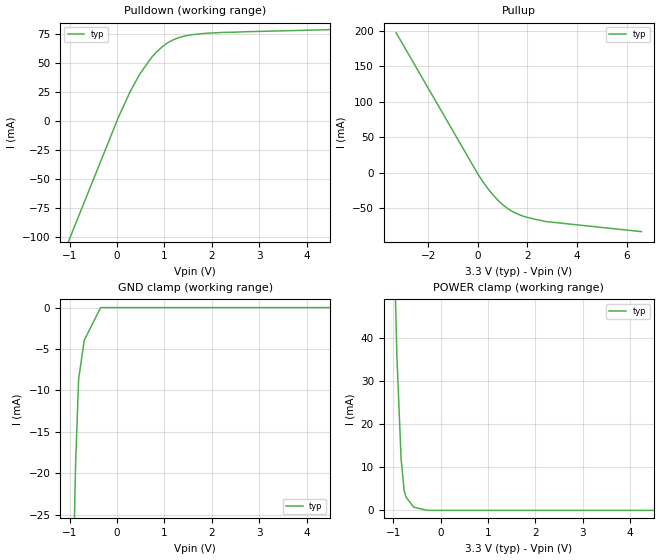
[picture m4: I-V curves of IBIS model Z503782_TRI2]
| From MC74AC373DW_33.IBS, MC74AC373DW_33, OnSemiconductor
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| (C) COPYRIGHT 1993-2000
| MENTOR GRAPHICS CORPORATION
| ICX STANDARD LIBRARY, ICX PROJECT MODELING,
| ICX CUSTOM MODELING, ICX VENDOR MODEL
| ALL RIGHTS RESERVED.
| THE FOLLOWING ARE TRADEMARKS OR SERVICE MARKS OF
| MENTOR GRAPHICS CORPORATION:ICX (R), ICX STANDARD
| LIBRARY(R), ICX PROJECT MODELING(R), ICX CUSTOM
| MODELING(R), qualityIBIS(TM), MODELVIEWER(TM),
| AND MODELEDITOR(TM)
| ALL COPIES OF SOFTWARE, INCLUDING BUT NOT LIMITED TO
| ANY MODIFICATIONS, ENHANCEMENTS OR DERIVATIVE WORKS,
| MUST CONTAIN ALL MENTOR GRAPHICS CORPORATION'S
| NOTICES AND LEGENDS, INCLUDING THOSE EMBEDDED IN
| SOFTWARE AND THOSE AFFIXED TO SOFTWARE MEDIUM
| AND CONTAINER, AS RECEIVED FROM MENTOR GRAPHICS
| CORPORATION.
| Model Application Version 1.89 2/18/99.
[Model] Z503782_TRI2
Model_type 3-state
Vref=0.000V
Rref=500.0ohms
Cref=50.00pF
Vmeas=1.650V
C_comp 8.000pF NA NA
| variable typ   min   max
[Voltage Range] 3.300V NA NA
[POWER Clamp Reference] 3.300V NA NA
[Pullup Reference] 3.300V NA NA
[Pulldown Reference] 0.000V NA NA
[GND Clamp Reference] 0.000V NA NA
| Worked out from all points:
|   slope of the pulldown table from 0 to 0.495 V, typ, clamps not added: 12 ohm
|   slope of the pullup table from 0 to 0.495 V, typ, clamps not added: 20.2 ohm
|   POWER clamp passes 1 mA (typ) near -0.58 V on its own axis
[GND Clamp]
-3.3V     -553.6mA   NA         NA
-1.113V   -83.74mA   NA         NA
-873.6mV  -18.84mA   NA         NA
-810mV    -8.648mA   NA         NA
-691.4mV  -3.945mA   NA         NA
-345.7mV  0A         NA         NA
6.6V      0A         NA         NA
[Pulldown]
-3.3V     -336.2mA   NA         NA
24.49mV   2.667mA    NA         NA
278.5mV   25.48mA    NA         NA
481.9mV   40.62mA    NA         NA
727.7mV   54.91mA    NA         NA
957.5mV   64.27mA    NA         NA
1.19V     70.23mA    NA         NA
1.445V    73.66mA    NA         NA
1.604V    74.76mA    NA         NA
2.241V    76.59mA    NA         NA
6.6V      81.09mA    NA         NA
[Pullup]
-3.3V     197.3mA    NA         NA
17mV      -2.42mA    NA         NA
223mV     -13.36mA   NA         NA
585mV     -29.84mA   NA         NA
1.025V    -45.34mA   NA         NA
1.239V    -50.94mA   NA         NA
1.592V    -57.66mA   NA         NA
2.025V    -62.82mA   NA         NA
2.703V    -68.22mA   NA         NA
6.6V      -82.58mA   NA         NA
[POWER Clamp]
-3.3V     1.397A     NA         NA
-1.064V   100.5mA    NA         NA
-923mV    36.18mA    NA         NA
-833mV    11.91mA    NA         NA
-768mV    4.527mA    NA         NA
-728mV    3.065mA    NA         NA
-566mV    748.8uA    NA         NA
-283mV    0A         NA         NA
6.6V      0A         NA         NA
[Ramp]
| variable typ min max
dV/dt_r 1.926/566.3p NA NA
dV/dt_f 1.926/702.2p NA NA
R_load = 500.0Ohms
